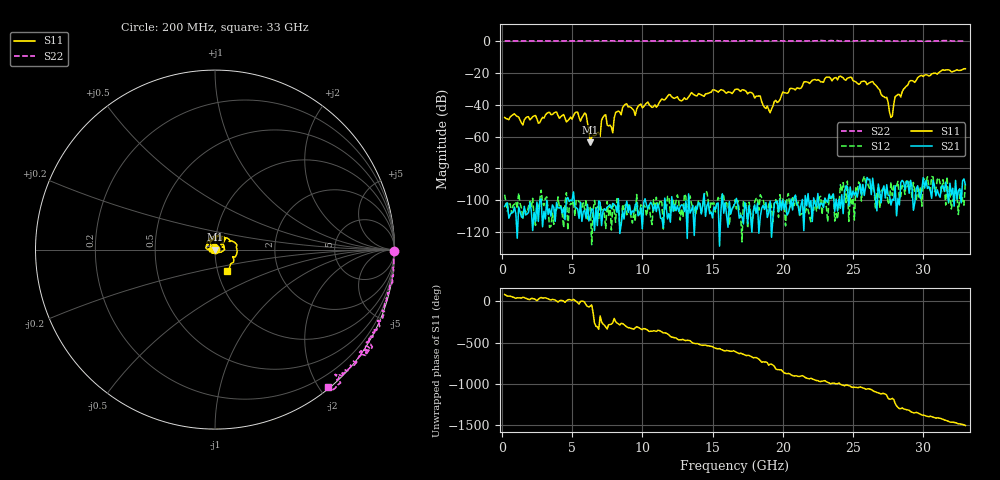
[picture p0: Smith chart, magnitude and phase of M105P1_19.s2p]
# GHZ S RI R 50
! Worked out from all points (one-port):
!   329 points, 200 MHz to 33 GHz, reference 50 ohm
!   lowest |S11| = -63.6 dB at 6.3 GHz (marker M1), VSWR 1.00, Z = 50 - j0.0563 ohm
!   |S11| at or under -10 dB: start of sweep to end of sweep
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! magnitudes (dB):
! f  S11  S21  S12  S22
! 200 MHz  -48.0  -103.9  -96.5  0.0
! 5.7 GHz  -48.1  -113.2  -104.4  0.0
! 6 GHz  -46.0  -111.4  -99.4  0.0
! 6.3 GHz  -63.6  -109.8  -104.3  0.0
! 7 GHz  -59.9  -101.2  -102.5  0.0
! 7.1 GHz  -49.9  -115.9  -106.0  0.0
! 7.3 GHz  -46.7  -105.3  -108.7  0.0
! 7.9 GHz  -57.7  -101.9  -103.2  0.0
! 8.1 GHz  -45.0  -103.7  -113.8  -0.1
! 8.8 GHz  -39.7  -104.6  -102.7  0.0
! 9.5 GHz  -46.7  -102.8  -113.2  0.0
! 11.2 GHz  -38.8  -105.3  -102.0  -0.1
! 16.6 GHz  -30.5  -101.8  -99.7  0.0
! 18.4 GHz  -34.7  -110.2  -96.5  0.0
! 19.1 GHz  -45.1  -100.6  -100.7  -0.1
! 20 GHz  -32.1  -99.8  -99.2  -0.1
! 22.1 GHz  -24.7  -113.3  -106.3  -0.1
! 26.4 GHz  -25.5  -86.1  -92.2  0.0
! 27.4 GHz  -35.4  -90.2  -94.4  0.0
! 27.6 GHz  -44.7  -97.1  -100.6  -0.1
! 29.1 GHz  -24.9  -87.5  -91.3  -0.1
! 33 GHz  -17.4  -90.3  -88.3  -0.1
